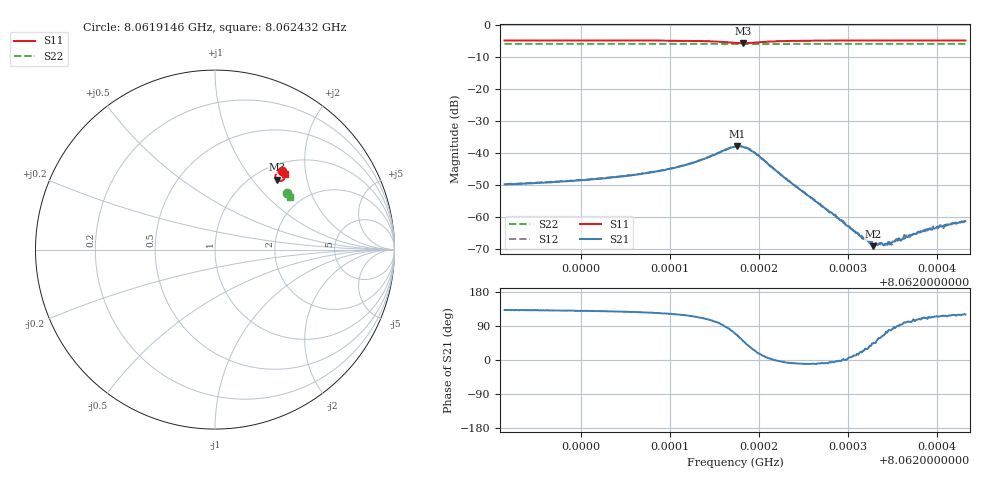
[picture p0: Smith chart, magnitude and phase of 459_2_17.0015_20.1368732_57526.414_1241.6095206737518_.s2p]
#  HZ  S  RI  R  50.00
! Rohde & Schwarz Vector Network Analyzer
! Rohde-Schwarz,ZNB20-2Port,1311601062101988,3.16
! Created: UTC 3/20/2024, 11:12:41 PM
! freq[Hz]  re:S11  im:S11  re:S21  im:S21  re:S12  im:S12  re:S22  im:S22
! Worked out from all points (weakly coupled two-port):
!   401 points, 8.0619146 GHz to 8.062432 GHz, reference 50 ohm
!   highest |S21| = -37.84 dB at 8.0621759 GHz (marker M1); lowest = -69.0 dB at 8.0623285 GHz (marker M2)
!   lowest |S11| = -5.7 dB at 8.0621823 GHz (marker M3), VSWR 3.17, Z = 62.7 + j67.1 ohm
!   |S11| at or under -10 dB: nowhere
!   |S22| runs from -5.9 to -5.8 dB; largest |S21 - S12| = 0.00094
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8.06191456e9  0.3714 0.4403  -0.00217 0.00242  -0.00204 0.00256  0.4006 0.3162
8.06200123e9  0.378 0.4342  -0.00244 0.00291  -0.00228 0.00307  0.4038 0.3119
8.06205815e9  0.3829 0.4287  -0.00272 0.00361  -0.00251 0.00385  0.4059 0.3089
8.0620879e9  0.3858 0.424  -0.00291 0.00436  -0.00267 0.00459  0.4069 0.3073
8.06212542e9  0.3894 0.4137  -0.00301 0.00636  -0.00264 0.00657  0.4083 0.3051
8.06217328e9  0.3621 0.3827  0.00433 0.0118  0.00501 0.0117  0.4083 0.3017
8.06217587e9  0.3569 0.3834  0.00535 0.0116  0.00627 0.0114  0.4083 0.3017
8.06218234e9  0.345 0.3899  0.00803 0.00969  0.00854 0.00927  0.4079 0.3018
8.06219398e9  0.337 0.411  0.00933 0.00479  0.00968 0.00416  0.4083 0.3023
8.0622302e9  0.3601 0.4352  0.00401 -0.000434  0.00401 -0.000694  0.4109 0.3014
8.06225995e9  0.371 0.4347  0.00193 -0.000327  0.00192 -0.000462  0.4122 0.2998
8.06229229e9  0.3775 0.4323  0.000884 -4.27e-05  0.000888 -7.03e-05  0.4138 0.298
8.06231817e9  0.3812 0.4304  0.000415 0.000193  0.000456 0.000153  0.4145 0.2968
8.06232852e9  0.3823 0.4296  0.000253 0.000247  0.000298 0.000232  0.4151 0.2963
8.0623311e9  0.3826 0.4294  0.000256 0.000257  0.000293 0.000292  0.4151 0.296
8.06234663e9  0.3843 0.4284  6.87e-05 0.000369  0.000129 0.000391  0.4157 0.2953
8.06235956e9  0.3854 0.4275  -2.19e-05 0.000427  2.48e-05 0.000437  0.4162 0.2945
8.06236344e9  0.3858 0.4273  -7.79e-05 0.000456  -4.69e-05 0.000528  0.4163 0.2942
8.06236991e9  0.3863 0.427  -0.000103 0.000517  -5.25e-05 0.000491  0.4165 0.294
8.0623932e9  0.3883 0.4255  -0.000236 0.000591  -0.000219 0.000631  0.4173 0.2927
8.06241907e9  0.3904 0.4237  -0.000387 0.000709  -0.000346 0.000718  0.4183 0.2915
8.06243201e9  0.3912 0.4232  -0.000437 0.000752  -0.000351 0.000731  0.4186 0.2906
